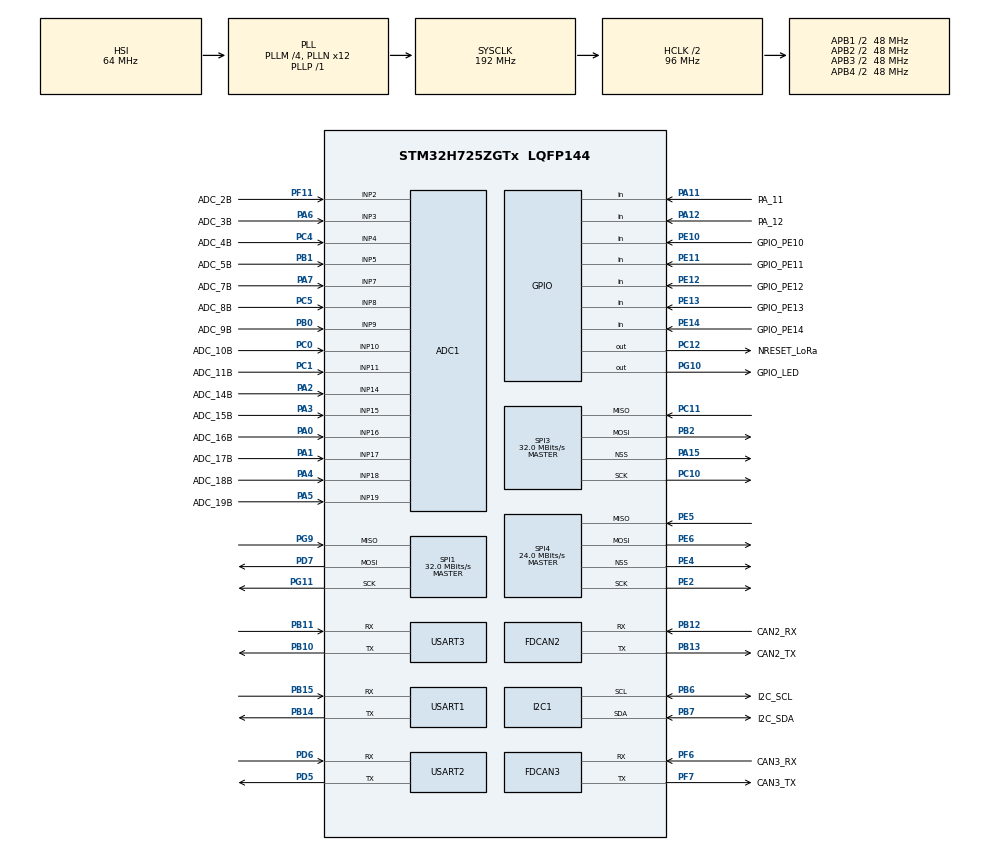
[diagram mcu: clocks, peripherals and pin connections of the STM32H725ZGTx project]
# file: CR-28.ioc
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ADC1.Channel-0\#ChannelRegularConversion=ADC_CHANNEL_2
ADC1.Channel-1\#ChannelRegularConversion=ADC_CHANNEL_3
ADC1.Channel-10\#ChannelRegularConversion=ADC_CHANNEL_15
ADC1.Channel-11\#ChannelRegularConversion=ADC_CHANNEL_16
ADC1.Channel-12\#ChannelRegularConversion=ADC_CHANNEL_17
ADC1.Channel-13\#ChannelRegularConversion=ADC_CHANNEL_18
ADC1.Channel-14\#ChannelRegularConversion=ADC_CHANNEL_19
ADC1.Channel-15\#ChannelRegularConversion=ADC_CHANNEL_19
ADC1.Channel-2\#ChannelRegularConversion=ADC_CHANNEL_4
ADC1.Channel-3\#ChannelRegularConversion=ADC_CHANNEL_5
ADC1.Channel-4\#ChannelRegularConversion=ADC_CHANNEL_7
ADC1.Channel-5\#ChannelRegularConversion=ADC_CHANNEL_8
ADC1.Channel-6\#ChannelRegularConversion=ADC_CHANNEL_9
ADC1.Channel-7\#ChannelRegularConversion=ADC_CHANNEL_10
ADC1.Channel-8\#ChannelRegularConversion=ADC_CHANNEL_11
ADC1.Channel-9\#ChannelRegularConversion=ADC_CHANNEL_14
ADC1.ContinuousConvMode=ENABLE
ADC1.ConversionDataManagement=ADC_CONVERSIONDATA_DMA_CIRCULAR
ADC1.NbrOfConversion=16
ADC1.NbrOfConversionFlag=1
ADC1.OffsetNumber-0\#ChannelRegularConversion=ADC_OFFSET_NONE
ADC1.OffsetNumber-1\#ChannelRegularConversion=ADC_OFFSET_NONE
ADC1.OffsetNumber-10\#ChannelRegularConversion=ADC_OFFSET_NONE
ADC1.OffsetNumber-11\#ChannelRegularConversion=ADC_OFFSET_NONE
ADC1.OffsetNumber-12\#ChannelRegularConversion=ADC_OFFSET_NONE
ADC1.OffsetNumber-13\#ChannelRegularConversion=ADC_OFFSET_NONE
ADC1.OffsetNumber-14\#ChannelRegularConversion=ADC_OFFSET_NONE
ADC1.OffsetNumber-15\#ChannelRegularConversion=ADC_OFFSET_NONE
ADC1.OffsetNumber-2\#ChannelRegularConversion=ADC_OFFSET_NONE
ADC1.OffsetNumber-3\#ChannelRegularConversion=ADC_OFFSET_NONE
ADC1.OffsetNumber-4\#ChannelRegularConversion=ADC_OFFSET_NONE
ADC1.OffsetNumber-5\#ChannelRegularConversion=ADC_OFFSET_NONE
ADC1.OffsetNumber-6\#ChannelRegularConversion=ADC_OFFSET_NONE
ADC1.OffsetNumber-7\#ChannelRegularConversion=ADC_OFFSET_NONE
ADC1.OffsetNumber-8\#ChannelRegularConversion=ADC_OFFSET_NONE
ADC1.OffsetNumber-9\#ChannelRegularConversion=ADC_OFFSET_NONE
ADC1.OffsetSignedSaturation-0\#ChannelRegularConversion=DISABLE
ADC1.OffsetSignedSaturation-1\#ChannelRegularConversion=DISABLE
ADC1.OffsetSignedSaturation-10\#ChannelRegularConversion=DISABLE
ADC1.OffsetSignedSaturation-11\#ChannelRegularConversion=DISABLE
ADC1.OffsetSignedSaturation-12\#ChannelRegularConversion=DISABLE
ADC1.OffsetSignedSaturation-13\#ChannelRegularConversion=DISABLE
ADC1.OffsetSignedSaturation-14\#ChannelRegularConversion=DISABLE
ADC1.OffsetSignedSaturation-15\#ChannelRegularConversion=DISABLE
ADC1.OffsetSignedSaturation-2\#ChannelRegularConversion=DISABLE
ADC1.OffsetSignedSaturation-3\#ChannelRegularConversion=DISABLE
ADC1.OffsetSignedSaturation-4\#ChannelRegularConversion=DISABLE
ADC1.OffsetSignedSaturation-5\#ChannelRegularConversion=DISABLE
ADC1.OffsetSignedSaturation-6\#ChannelRegularConversion=DISABLE
ADC1.OffsetSignedSaturation-7\#ChannelRegularConversion=DISABLE
ADC1.OffsetSignedSaturation-8\#ChannelRegularConversion=DISABLE
ADC1.OffsetSignedSaturation-9\#ChannelRegularConversion=DISABLE
ADC1.Rank-0\#ChannelRegularConversion=1
ADC1.Rank-1\#ChannelRegularConversion=2
ADC1.Rank-10\#ChannelRegularConversion=11
ADC1.Rank-11\#ChannelRegularConversion=12
ADC1.Rank-12\#ChannelRegularConversion=13
ADC1.Rank-13\#ChannelRegularConversion=14
ADC1.Rank-14\#ChannelRegularConversion=15
ADC1.Rank-15\#ChannelRegularConversion=16
ADC1.Rank-2\#ChannelRegularConversion=3
ADC1.Rank-3\#ChannelRegularConversion=4
ADC1.Rank-4\#ChannelRegularConversion=5
ADC1.Rank-5\#ChannelRegularConversion=6
ADC1.Rank-6\#ChannelRegularConversion=7
ADC1.Rank-7\#ChannelRegularConversion=8
ADC1.Rank-8\#ChannelRegularConversion=9
ADC1.Rank-9\#ChannelRegularConversion=10
ADC1.SamplingTime-0\#ChannelRegularConversion=ADC_SAMPLETIME_1CYCLE_5
ADC1.SamplingTime-1\#ChannelRegularConversion=ADC_SAMPLETIME_1CYCLE_5
ADC1.SamplingTime-10\#ChannelRegularConversion=ADC_SAMPLETIME_1CYCLE_5
ADC1.SamplingTime-11\#ChannelRegularConversion=ADC_SAMPLETIME_1CYCLE_5
ADC1.SamplingTime-12\#ChannelRegularConversion=ADC_SAMPLETIME_1CYCLE_5
ADC1.SamplingTime-13\#ChannelRegularConversion=ADC_SAMPLETIME_1CYCLE_5
ADC1.SamplingTime-14\#ChannelRegularConversion=ADC_SAMPLETIME_1CYCLE_5
ADC1.SamplingTime-15\#ChannelRegularConversion=ADC_SAMPLETIME_1CYCLE_5
ADC1.SamplingTime-2\#ChannelRegularConversion=ADC_SAMPLETIME_1CYCLE_5
ADC1.SamplingTime-3\#ChannelRegularConversion=ADC_SAMPLETIME_1CYCLE_5
ADC1.SamplingTime-4\#ChannelRegularConversion=ADC_SAMPLETIME_1CYCLE_5
ADC1.SamplingTime-5\#ChannelRegularConversion=ADC_SAMPLETIME_1CYCLE_5
ADC1.SamplingTime-6\#ChannelRegularConversion=ADC_SAMPLETIME_1CYCLE_5
ADC1.SamplingTime-7\#ChannelRegularConversion=ADC_SAMPLETIME_1CYCLE_5
ADC1.SamplingTime-8\#ChannelRegularConversion=ADC_SAMPLETIME_1CYCLE_5
ADC1.SamplingTime-9\#ChannelRegularConversion=ADC_SAMPLETIME_1CYCLE_5
ADC1.master=1
Dma.ADC1.0.Direction=DMA_PERIPH_TO_MEMORY
Dma.ADC1.0.EventEnable=DISABLE
Dma.ADC1.0.FIFOMode=DMA_FIFOMODE_DISABLE
Dma.ADC1.0.Instance=DMA1_Stream0
Dma.ADC1.0.MemDataAlignment=DMA_MDATAALIGN_HALFWORD
Dma.ADC1.0.MemInc=DMA_MINC_ENABLE
Dma.ADC1.0.Mode=DMA_CIRCULAR
Dma.ADC1.0.PeriphDataAlignment=DMA_PDATAALIGN_HALFWORD
Dma.ADC1.0.PeriphInc=DMA_PINC_DISABLE
Dma.ADC1.0.Polarity=HAL_DMAMUX_REQ_GEN_RISING
Dma.ADC1.0.Priority=DMA_PRIORITY_LOW
Dma.ADC1.0.RequestNumber=1
Dma.ADC1.0.SignalID=NONE
Dma.ADC1.0.SyncEnable=DISABLE
Dma.ADC1.0.SyncPolarity=HAL_DMAMUX_SYNC_NO_EVENT
Dma.ADC1.0.SyncRequestNumber=1
Dma.ADC1.0.SyncSignalID=NONE
Dma.Request0=ADC1
FDCAN2.CalculateBaudRateNominal=800000
FDCAN2.CalculateTimeBitNominal=1250
FDCAN2.CalculateTimeQuantumNominal=250.0
FDCAN2.Mode=FDCAN_MODE_NORMAL
FDCAN3.CalculateBaudRateNominal=800000
FDCAN3.CalculateTimeBitNominal=1250
FDCAN3.CalculateTimeQuantumNominal=250.0
I2C1.Timing=0x20303E5D
Mcu.Family=STM32H7
Mcu.Name=STM32H725ZGTx
Mcu.Package=LQFP144
NVIC.DMA1_Stream0_IRQn=true\:0\:0\:false\:false\:true\:false\:true\:true
NVIC.PriorityGroup=NVIC_PRIORITYGROUP_4
NVIC.USART1_IRQn=true\:0\:0\:false\:false\:true\:true\:true\:true
PA0.GPIO_Label=ADC_16B
PA0.Mode=IN16-Single-Ended
PA0.Signal=ADC1_INP16
PA1.GPIO_Label=ADC_17B
PA1.Mode=IN17-Single-Ended
PA1.Signal=ADC1_INP17
PA11.GPIO_Label=PA_11
PA11.Signal=GPIO_Input
PA12.GPIO_Label=PA_12
PA12.Signal=GPIO_Input
PA15(JTDI).Mode=NSS_Signal_Hard_Output
PA15(JTDI).Signal=SPI3_NSS
PA2.GPIO_Label=ADC_14B
PA2.Signal=ADCx_INP14
PA3.GPIO_Label=ADC_15B
PA3.Signal=ADCx_INP15
PA4.GPIO_Label=ADC_18B
PA4.Signal=ADCx_INP18
PA5.GPIO_Label=ADC_19B
PA5.Signal=ADCx_INP19
PA6.GPIO_Label=ADC_3B
PA6.Signal=ADCx_INP3
PA7.GPIO_Label=ADC_7B
PA7.Signal=ADCx_INP7
PB0.GPIO_Label=ADC_9B
PB0.Signal=ADCx_INP9
PB1.GPIO_Label=ADC_5B
PB1.Signal=ADCx_INP5
PB10.Mode=Asynchronous
PB10.Signal=USART3_TX
PB11.Mode=Asynchronous
PB11.Signal=USART3_RX
PB12.GPIO_Label=CAN2_RX
PB12.Mode=FDCAN_Activate
PB12.Signal=FDCAN2_RX
PB13.GPIO_Label=CAN2_TX
PB13.Mode=FDCAN_Activate
PB13.Signal=FDCAN2_TX
PB14.Mode=Asynchronous
PB14.Signal=USART1_TX
PB15.Mode=Asynchronous
PB15.Signal=USART1_RX
PB2.Mode=Full_Duplex_Master
PB2.Signal=SPI3_MOSI
PB6.GPIO_Label=I2C_SCL
PB6.Mode=I2C
PB6.Signal=I2C1_SCL
PB7.GPIO_Label=I2C_SDA
PB7.Mode=I2C
PB7.Signal=I2C1_SDA
PC0.GPIO_Label=ADC_10B
PC0.Signal=ADCx_INP10
PC1.GPIO_Label=ADC_11B
PC1.Signal=ADCx_INP11
PC10.Mode=Full_Duplex_Master
PC10.Signal=SPI3_SCK
PC11.Mode=Full_Duplex_Master
PC11.Signal=SPI3_MISO
PC12.GPIO_Label=NRESET_LoRa
PC12.Signal=GPIO_Output
PC14-OSC32_IN.GPIO_Label=LSE_In
PC14-OSC32_IN.Mode=LSE-External-Oscillator
PC14-OSC32_IN.Signal=RCC_OSC32_IN
PC15-OSC32_OUT.GPIO_Label=LSE_Out
PC15-OSC32_OUT.Mode=LSE-External-Oscillator
PC15-OSC32_OUT.Signal=RCC_OSC32_OUT
PC4.GPIO_Label=ADC_4B
PC4.Signal=ADCx_INP4
PC5.GPIO_Label=ADC_8B
PC5.Signal=ADCx_INP8
PD5.Mode=Asynchronous
PD5.Signal=USART2_TX
PD6.Mode=Asynchronous
PD6.Signal=USART2_RX
PD7.Mode=Full_Duplex_Master
PD7.Signal=SPI1_MOSI
PE10.GPIO_Label=GPIO_PE10
PE10.Signal=GPIO_Input
PE11.GPIO_Label=GPIO_PE11
PE11.Signal=GPIO_Input
PE12.GPIO_Label=GPIO_PE12
PE12.Signal=GPIO_Input
PE13.GPIO_Label=GPIO_PE13
PE13.Signal=GPIO_Input
PE14.GPIO_Label=GPIO_PE14
PE14.Signal=GPIO_Input
PE2.Mode=Full_Duplex_Master
PE2.Signal=SPI4_SCK
PE4.Mode=NSS_Signal_Hard_Output
PE4.Signal=SPI4_NSS
PE5.Mode=Full_Duplex_Master
PE5.Signal=SPI4_MISO
PE6.Mode=Full_Duplex_Master
PE6.Signal=SPI4_MOSI
PF11.GPIO_Label=ADC_2B
PF11.Mode=IN2-Single-Ended
PF11.Signal=ADC1_INP2
PF6.GPIO_Label=CAN3_RX
PF6.Mode=FDCAN_Activate
PF6.Signal=FDCAN3_RX
PF7.GPIO_Label=CAN3_TX
PF7.Mode=FDCAN_Activate
PF7.Signal=FDCAN3_TX
PG10.GPIO_Label=GPIO_LED
PG10.Signal=GPIO_Output
PG11.Mode=Full_Duplex_Master
PG11.Signal=SPI1_SCK
PG9.Mode=Full_Duplex_Master
PG9.Signal=SPI1_MISO
PH0-OSC_IN.GPIO_Label=HSE_In
PH0-OSC_IN.Mode=HSE-External-Oscillator
PH0-OSC_IN.Signal=RCC_OSC_IN
PH1-OSC_OUT.GPIO_Label=HSE_Out
PH1-OSC_OUT.Mode=HSE-External-Oscillator
PH1-OSC_OUT.Signal=RCC_OSC_OUT
ProjectManager.HeapSize=0x200
ProjectManager.StackSize=0x400
ProjectManager.TargetToolchain=STM32CubeIDE
RCC.ADCFreq_Value=48000000
RCC.APB1Freq_Value=48000000
RCC.APB2Freq_Value=48000000
RCC.APB3Freq_Value=48000000
RCC.APB4Freq_Value=48000000
RCC.CortexFreq_Value=192000000
RCC.D1PPRE=RCC_APB3_DIV2
RCC.D2PPRE1=RCC_APB1_DIV2
RCC.D2PPRE2=RCC_APB2_DIV2
RCC.D3PPRE=RCC_APB4_DIV2
RCC.DIVM1=4
RCC.DIVM2=4
RCC.DIVN1=12
RCC.DIVN2=12
RCC.DIVP1=1
RCC.DIVP2=4
RCC.DIVQ1=3
RCC.HCLKFreq_Value=96000000
RCC.HPRE=RCC_HCLK_DIV2
RCC.PLL2FRACN=0
RCC.PLL3FRACN=0
RCC.PLLFRACN=0
RCC.SYSCLKFreq_VALUE=192000000
RCC.SYSCLKSource=RCC_SYSCLKSOURCE_PLLCLK
RCC.USBFreq_Value=64000000
SH.ADCx_INP10.0=ADC1_INP10,IN10-Single-Ended
SH.ADCx_INP11.0=ADC1_INP11,IN11-Single-Ended
SH.ADCx_INP14.0=ADC1_INP14,IN14-Single-Ended
SH.ADCx_INP15.0=ADC1_INP15,IN15-Single-Ended
SH.ADCx_INP18.0=ADC1_INP18,IN18-Single-Ended
SH.ADCx_INP19.0=ADC1_INP19,IN19-Single-Ended
SH.ADCx_INP3.0=ADC1_INP3,IN3-Single-Ended
SH.ADCx_INP4.0=ADC1_INP4,IN4-Single-Ended
SH.ADCx_INP5.0=ADC1_INP5,IN5-Single-Ended
SH.ADCx_INP7.0=ADC1_INP7,IN7-Single-Ended
SH.ADCx_INP8.0=ADC1_INP8,IN8-Single-Ended
SH.ADCx_INP9.0=ADC1_INP9,IN9-Single-Ended
SPI1.CalculateBaudRate=32.0 MBits/s
SPI1.Direction=SPI_DIRECTION_2LINES
SPI1.Mode=SPI_MODE_MASTER
SPI1.VirtualType=VM_MASTER
SPI3.CalculateBaudRate=32.0 MBits/s
SPI3.Direction=SPI_DIRECTION_2LINES
SPI3.Mode=SPI_MODE_MASTER
SPI3.VirtualNSS=VM_NSSHARD
SPI3.VirtualType=VM_MASTER
SPI4.CalculateBaudRate=24.0 MBits/s
SPI4.Direction=SPI_DIRECTION_2LINES
SPI4.Mode=SPI_MODE_MASTER
SPI4.VirtualNSS=VM_NSSHARD
SPI4.VirtualType=VM_MASTER
USART1.VirtualMode-Asynchronous=VM_ASYNC
USART2.VirtualMode-Asynchronous=VM_ASYNC
USART3.VirtualMode-Asynchronous=VM_ASYNC
board=custom

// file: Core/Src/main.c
/* USER CODE BEGIN Header */
/**
  ******************************************************************************
  * @file           : main.c
  * @brief          : Main program for CR-28 Telemetry System
  ******************************************************************************
  */
/* USER CODE END Header */
#include "main.h"

/* USER CODE BEGIN PD */
#define ADC_BUFFER_SIZE 128 // Use a larger value to decimate ADC data
/* USER CODE END PD */

ADC_HandleTypeDef hadc1;
DMA_HandleTypeDef hdma_adc1;

FDCAN_HandleTypeDef hfdcan2;
FDCAN_HandleTypeDef hfdcan3;

I2C_HandleTypeDef hi2c1;

SPI_HandleTypeDef hspi1;
SPI_HandleTypeDef hspi3;
SPI_HandleTypeDef hspi4;

UART_HandleTypeDef huart1;
UART_HandleTypeDef huart2;
UART_HandleTypeDef huart3;

/* USER CODE BEGIN PV */
uint16_t adcBuffer[ADC_BUFFER_SIZE]; // Buffer to hold the ADC Results
volatile int adcConvFlag = 0; // DMA Conversion flag for Analog Converters

char debug[64]; // String to hold UART Messages for debug

char message[64]; // String to hold UART messages to control the HMI Display
char HMIEnd[4] = "0xff"; // End Command for HMI Serial Control

/* Data Struct to hold Telem Data*/
typedef struct data_struct {
  float RPM;        // RPM
  float TPS;        // TPS
  float FOT;        // Fuel Open Time
  float IA;         // Ignition Angle
  float Lam;        // Lambda
  float AirT;       // Air Temp
  float CoolT;      // Coolant Temp
  float Lat;        // Latitude
  float Lng;        // Longitude
  float Speed;      // GPS Speed
  float OilP;       // Oil Pressure
  float FuelP;      // Fuel Pressure
  float FLTemp;     // Front Left Brake Temp
  float FRTemp;     // Front Right Brake Temp
  float RLTemp;     // Rear Left Brake Temp
  float RRTemp;     // Rear Right Brake Temp
  float FRPot;      // Front Right Suspension Damper
  float FLPot;      // Front Left Suspension Damper
  float RRPot;      // Rear Right Suspension Damper
  float RLPot;      // Rear Left Suspension Damper
  float BrakeFront; // Front Brake Pressure
  float BrakeRear;  // Rear Brake Pressure
  float BrakeBias;  // Brake Bias
  float AccX;       // Accelerometer X Axis
  float AccY;       // Accelerometer Y Axis
  float AccZ;       // Accelerometer Z Axis
  float GyrX;       // Gyroscope X Axis
  float GyrY;       // Gyroscope Y Axis
  float GyrZ;       // Gyroscope Z Axis
  float MagX;       // Magnetometer X Axis
  float MagY;       // Magnetometer Y Axis
  float MagZ;       // Magnetometer Z Axis
} data_struct;
data_struct telemetry;

/* USER CODE END PV */

void SystemClock_Config(void);
static void MX_GPIO_Init(void);
static void MX_DMA_Init(void);
static void MX_ADC1_Init(void);
static void MX_USART1_UART_Init(void);
static void MX_FDCAN2_Init(void);
static void MX_FDCAN3_Init(void);
static void MX_I2C1_Init(void);
static void MX_SPI1_Init(void);
static void MX_USART2_UART_Init(void);
static void MX_USART3_UART_Init(void);
static void MX_SPI3_Init(void);
static void MX_SPI4_Init(void);

int main(void)
{

  /* MCU Configuration--------------------------------------------------------*/

  /* Reset of all peripherals, Initializes the Flash interface and the Systick. */
  HAL_Init();

  /* Configure the system clock */
  SystemClock_Config();

  /* Initialize all configured peripherals */
  MX_GPIO_Init();
  MX_DMA_Init();
  MX_ADC1_Init();
  MX_USART1_UART_Init();
  MX_FDCAN2_Init();
  MX_FDCAN3_Init();
  MX_I2C1_Init();
  MX_SPI1_Init();
  MX_USART2_UART_Init();
  MX_USART3_UART_Init();
  MX_SPI3_Init();
  MX_SPI4_Init();
  /* USER CODE BEGIN 2 */

  /* Start ADC 1 with DMA Transfers while checking for errors */
  if (HAL_ADC_Start_DMA(&hadc1, (uint16_t)adcBuffer, ADC_BUFFER_SIZE) != HAL_OK) {
	  Error_Handler();
  }

  /* USER CODE END 2 */

  /* Infinite loop */
  /* USER CODE BEGIN WHILE */
  while (1)
  {
	  // TODO: Add CAN data read in

	  if (adcConvFlag == 1) {
		  // Update Variables
		  telemetry.FRPot = adcBuffer[0];
		  telemetry.FLPot = adcBuffer[1];
		  telemetry.RRPot = adcBuffer[2];
		  telemetry.RLPot = adcBuffer[3];

		  // TODO: Convert ADC values to sensor values
		  // Need sensor range

		  telemetry.BrakeFront = adcBuffer[4];
		  telemetry.BrakeRear = adcBuffer[5];

		  // TODO: Convert ADC values to sensor values
		  // Need sensor range

		  sprintf(debug, "%d - %d", adcBuffer[4], adcBuffer[5]);
		  HAL_UART_Transmit_IT(&huart3, debug, sizeof(debug));

		  adcConvFlag = 0;
	  }

	  sprintf(message, "rpm.txt=\"%d\"", telemetry.RPM);
	  HAL_UART_Transmit_IT(&huart1, message, sizeof(message));
	  HMICMD();
    /* USER CODE END WHILE */

  }
}

void SystemClock_Config(void)
{
  RCC_OscInitTypeDef RCC_OscInitStruct = {0};
  RCC_ClkInitTypeDef RCC_ClkInitStruct = {0};

  /** Supply configuration update enable
  */
  HAL_PWREx_ConfigSupply(PWR_DIRECT_SMPS_SUPPLY);

  /** Configure the main internal regulator output voltage
  */
  __HAL_PWR_VOLTAGESCALING_CONFIG(PWR_REGULATOR_VOLTAGE_SCALE2);

  while(!__HAL_PWR_GET_FLAG(PWR_FLAG_VOSRDY)) {}

  /** Initializes the RCC Oscillators according to the specified parameters
  * in the RCC_OscInitTypeDef structure.
  */
  RCC_OscInitStruct.OscillatorType = RCC_OSCILLATORTYPE_HSI;
  RCC_OscInitStruct.HSIState = RCC_HSI_DIV1;
  RCC_OscInitStruct.HSICalibrationValue = 64;
  RCC_OscInitStruct.PLL.PLLState = RCC_PLL_ON;
  RCC_OscInitStruct.PLL.PLLSource = RCC_PLLSOURCE_HSI;
  RCC_OscInitStruct.PLL.PLLM = 4;
  RCC_OscInitStruct.PLL.PLLN = 12;
  RCC_OscInitStruct.PLL.PLLP = 1;
  RCC_OscInitStruct.PLL.PLLQ = 3;
  RCC_OscInitStruct.PLL.PLLR = 2;
  RCC_OscInitStruct.PLL.PLLRGE = RCC_PLL1VCIRANGE_3;
  RCC_OscInitStruct.PLL.PLLVCOSEL = RCC_PLL1VCOWIDE;
  RCC_OscInitStruct.PLL.PLLFRACN = 0;
  if (HAL_RCC_OscConfig(&RCC_OscInitStruct) != HAL_OK)
  {
    Error_Handler();
  }

  /** Initializes the CPU, AHB and APB buses clocks
  */
  RCC_ClkInitStruct.ClockType = RCC_CLOCKTYPE_HCLK|RCC_CLOCKTYPE_SYSCLK
                              |RCC_CLOCKTYPE_PCLK1|RCC_CLOCKTYPE_PCLK2
                              |RCC_CLOCKTYPE_D3PCLK1|RCC_CLOCKTYPE_D1PCLK1;
  RCC_ClkInitStruct.SYSCLKSource = RCC_SYSCLKSOURCE_PLLCLK;
  RCC_ClkInitStruct.SYSCLKDivider = RCC_SYSCLK_DIV1;
  RCC_ClkInitStruct.AHBCLKDivider = RCC_HCLK_DIV2;
  RCC_ClkInitStruct.APB3CLKDivider = RCC_APB3_DIV2;
  RCC_ClkInitStruct.APB1CLKDivider = RCC_APB1_DIV2;
  RCC_ClkInitStruct.APB2CLKDivider = RCC_APB2_DIV2;
  RCC_ClkInitStruct.APB4CLKDivider = RCC_APB4_DIV2;

  if (HAL_RCC_ClockConfig(&RCC_ClkInitStruct, FLASH_LATENCY_1) != HAL_OK)
  {
    Error_Handler();
  }
}

static void MX_ADC1_Init(void)
{

  ADC_MultiModeTypeDef multimode = {0};
  ADC_ChannelConfTypeDef sConfig = {0};

  /** Common config
  */
  hadc1.Instance = ADC1;
  hadc1.Init.ClockPrescaler = ADC_CLOCK_ASYNC_DIV1;
  hadc1.Init.Resolution = ADC_RESOLUTION_16B;
  hadc1.Init.ScanConvMode = ADC_SCAN_ENABLE;
  hadc1.Init.EOCSelection = ADC_EOC_SINGLE_CONV;
  hadc1.Init.LowPowerAutoWait = DISABLE;
  hadc1.Init.ContinuousConvMode = ENABLE;
  hadc1.Init.NbrOfConversion = 16;
  hadc1.Init.DiscontinuousConvMode = DISABLE;
  hadc1.Init.ExternalTrigConv = ADC_SOFTWARE_START;
  hadc1.Init.ExternalTrigConvEdge = ADC_EXTERNALTRIGCONVEDGE_NONE;
  hadc1.Init.ConversionDataManagement = ADC_CONVERSIONDATA_DMA_CIRCULAR;
  hadc1.Init.Overrun = ADC_OVR_DATA_PRESERVED;
  hadc1.Init.LeftBitShift = ADC_LEFTBITSHIFT_NONE;
  hadc1.Init.OversamplingMode = DISABLE;
  if (HAL_ADC_Init(&hadc1) != HAL_OK)
  {
    Error_Handler();
  }

  /** Configure the ADC multi-mode
  */
  multimode.Mode = ADC_MODE_INDEPENDENT;
  if (HAL_ADCEx_MultiModeConfigChannel(&hadc1, &multimode) != HAL_OK)
  {
    Error_Handler();
  }

  /** Configure Regular Channel
  */
  sConfig.Channel = ADC_CHANNEL_2;
  sConfig.Rank = ADC_REGULAR_RANK_1;
  sConfig.SamplingTime = ADC_SAMPLETIME_1CYCLE_5;
  sConfig.SingleDiff = ADC_SINGLE_ENDED;
  sConfig.OffsetNumber = ADC_OFFSET_NONE;
  sConfig.Offset = 0;
  sConfig.OffsetSignedSaturation = DISABLE;
  if (HAL_ADC_ConfigChannel(&hadc1, &sConfig) != HAL_OK)
  {
    Error_Handler();
  }

  /** Configure Regular Channel
  */
  sConfig.Channel = ADC_CHANNEL_3;
  sConfig.Rank = ADC_REGULAR_RANK_2;
  if (HAL_ADC_ConfigChannel(&hadc1, &sConfig) != HAL_OK)
  {
    Error_Handler();
  }

  /** Configure Regular Channel
  */
  sConfig.Channel = ADC_CHANNEL_4;
  sConfig.Rank = ADC_REGULAR_RANK_3;
  if (HAL_ADC_ConfigChannel(&hadc1, &sConfig) != HAL_OK)
  {
    Error_Handler();
  }

  /** Configure Regular Channel
  */
  sConfig.Channel = ADC_CHANNEL_5;
  sConfig.Rank = ADC_REGULAR_RANK_4;
  if (HAL_ADC_ConfigChannel(&hadc1, &sConfig) != HAL_OK)
  {
    Error_Handler();
  }

  /** Configure Regular Channel
  */
  sConfig.Channel = ADC_CHANNEL_7;
  sConfig.Rank = ADC_REGULAR_RANK_5;
  if (HAL_ADC_ConfigChannel(&hadc1, &sConfig) != HAL_OK)
  {
    Error_Handler();
  }

  /** Configure Regular Channel
  */
  sConfig.Channel = ADC_CHANNEL_8;
  sConfig.Rank = ADC_REGULAR_RANK_6;
  if (HAL_ADC_ConfigChannel(&hadc1, &sConfig) != HAL_OK)
  {
    Error_Handler();
  }

  /** Configure Regular Channel
  */
  sConfig.Channel = ADC_CHANNEL_9;
  sConfig.Rank = ADC_REGULAR_RANK_7;
  if (HAL_ADC_ConfigChannel(&hadc1, &sConfig) != HAL_OK)
  {
    Error_Handler();
  }

  /** Configure Regular Channel
  */
  sConfig.Channel = ADC_CHANNEL_10;
  sConfig.Rank = ADC_REGULAR_RANK_8;
  if (HAL_ADC_ConfigChannel(&hadc1, &sConfig) != HAL_OK)
  {
    Error_Handler();
  }

  /** Configure Regular Channel
  */
  sConfig.Channel = ADC_CHANNEL_11;
  sConfig.Rank = ADC_REGULAR_RANK_9;
  if (HAL_ADC_ConfigChannel(&hadc1, &sConfig) != HAL_OK)
  {
    Error_Handler();
  }

  /** Configure Regular Channel
  */
  sConfig.Channel = ADC_CHANNEL_14;
  sConfig.Rank = ADC_REGULAR_RANK_10;
  if (HAL_ADC_ConfigChannel(&hadc1, &sConfig) != HAL_OK)
  {
    Error_Handler();
  }

  /** Configure Regular Channel
  */
  sConfig.Channel = ADC_CHANNEL_15;
  sConfig.Rank = ADC_REGULAR_RANK_11;
  if (HAL_ADC_ConfigChannel(&hadc1, &sConfig) != HAL_OK)
  {
    Error_Handler();
  }

  /** Configure Regular Channel
  */
  sConfig.Channel = ADC_CHANNEL_16;
  sConfig.Rank = ADC_REGULAR_RANK_12;
  if (HAL_ADC_ConfigChannel(&hadc1, &sConfig) != HAL_OK)
  {
    Error_Handler();
  }

  /** Configure Regular Channel
  */
  sConfig.Channel = ADC_CHANNEL_17;
  sConfig.Rank = ADC_REGULAR_RANK_13;
  if (HAL_ADC_ConfigChannel(&hadc1, &sConfig) != HAL_OK)
  {
    Error_Handler();
  }

  /** Configure Regular Channel
  */
  sConfig.Channel = ADC_CHANNEL_18;
  sConfig.Rank = ADC_REGULAR_RANK_14;
  if (HAL_ADC_ConfigChannel(&hadc1, &sConfig) != HAL_OK)
  {
    Error_Handler();
  }

  /** Configure Regular Channel
  */
  sConfig.Channel = ADC_CHANNEL_19;
  sConfig.Rank = ADC_REGULAR_RANK_15;
  if (HAL_ADC_ConfigChannel(&hadc1, &sConfig) != HAL_OK)
  {
    Error_Handler();
  }

  /** Configure Regular Channel
  */
  sConfig.Rank = ADC_REGULAR_RANK_16;
  if (HAL_ADC_ConfigChannel(&hadc1, &sConfig) != HAL_OK)
  {
    Error_Handler();
  }

}

static void MX_FDCAN2_Init(void)
{

  hfdcan2.Instance = FDCAN2;
  hfdcan2.Init.FrameFormat = FDCAN_FRAME_CLASSIC;
  hfdcan2.Init.Mode = FDCAN_MODE_NORMAL;
  hfdcan2.Init.AutoRetransmission = DISABLE;
  hfdcan2.Init.TransmitPause = DISABLE;
  hfdcan2.Init.ProtocolException = DISABLE;
  hfdcan2.Init.NominalPrescaler = 16;
  hfdcan2.Init.NominalSyncJumpWidth = 1;
  hfdcan2.Init.NominalTimeSeg1 = 2;
  hfdcan2.Init.NominalTimeSeg2 = 2;
  hfdcan2.Init.DataPrescaler = 1;
  hfdcan2.Init.DataSyncJumpWidth = 1;
  hfdcan2.Init.DataTimeSeg1 = 1;
  hfdcan2.Init.DataTimeSeg2 = 1;
  hfdcan2.Init.MessageRAMOffset = 0;
  hfdcan2.Init.StdFiltersNbr = 0;
  hfdcan2.Init.ExtFiltersNbr = 0;
  hfdcan2.Init.RxFifo0ElmtsNbr = 0;
  hfdcan2.Init.RxFifo0ElmtSize = FDCAN_DATA_BYTES_8;
  hfdcan2.Init.RxFifo1ElmtsNbr = 0;
  hfdcan2.Init.RxFifo1ElmtSize = FDCAN_DATA_BYTES_8;
  hfdcan2.Init.RxBuffersNbr = 0;
  hfdcan2.Init.RxBufferSize = FDCAN_DATA_BYTES_8;
  hfdcan2.Init.TxEventsNbr = 0;
  hfdcan2.Init.TxBuffersNbr = 0;
  hfdcan2.Init.TxFifoQueueElmtsNbr = 0;
  hfdcan2.Init.TxFifoQueueMode = FDCAN_TX_FIFO_OPERATION;
  hfdcan2.Init.TxElmtSize = FDCAN_DATA_BYTES_8;
  if (HAL_FDCAN_Init(&hfdcan2) != HAL_OK)
  {
    Error_Handler();
  }

}

static void MX_FDCAN3_Init(void)
{

  hfdcan3.Instance = FDCAN3;
  hfdcan3.Init.FrameFormat = FDCAN_FRAME_CLASSIC;
  hfdcan3.Init.Mode = FDCAN_MODE_NORMAL;
  hfdcan3.Init.AutoRetransmission = DISABLE;
  hfdcan3.Init.TransmitPause = DISABLE;
  hfdcan3.Init.ProtocolException = DISABLE;
  hfdcan3.Init.NominalPrescaler = 16;
  hfdcan3.Init.NominalSyncJumpWidth = 1;
  hfdcan3.Init.NominalTimeSeg1 = 2;
  hfdcan3.Init.NominalTimeSeg2 = 2;
  hfdcan3.Init.DataPrescaler = 1;
  hfdcan3.Init.DataSyncJumpWidth = 1;
  hfdcan3.Init.DataTimeSeg1 = 1;
  hfdcan3.Init.DataTimeSeg2 = 1;
  hfdcan3.Init.MessageRAMOffset = 0;
  hfdcan3.Init.StdFiltersNbr = 0;
  hfdcan3.Init.ExtFiltersNbr = 0;
  hfdcan3.Init.RxFifo0ElmtsNbr = 0;
  hfdcan3.Init.RxFifo0ElmtSize = FDCAN_DATA_BYTES_8;
  hfdcan3.Init.RxFifo1ElmtsNbr = 0;
  hfdcan3.Init.RxFifo1ElmtSize = FDCAN_DATA_BYTES_8;
  hfdcan3.Init.RxBuffersNbr = 0;
  hfdcan3.Init.RxBufferSize = FDCAN_DATA_BYTES_8;
  hfdcan3.Init.TxEventsNbr = 0;
  hfdcan3.Init.TxBuffersNbr = 0;
  hfdcan3.Init.TxFifoQueueElmtsNbr = 0;
  hfdcan3.Init.TxFifoQueueMode = FDCAN_TX_FIFO_OPERATION;
  hfdcan3.Init.TxElmtSize = FDCAN_DATA_BYTES_8;
  if (HAL_FDCAN_Init(&hfdcan3) != HAL_OK)
  {
    Error_Handler();
  }

}

static void MX_I2C1_Init(void)
{

  hi2c1.Instance = I2C1;
  hi2c1.Init.Timing = 0x20303E5D;
  hi2c1.Init.OwnAddress1 = 0;
  hi2c1.Init.AddressingMode = I2C_ADDRESSINGMODE_7BIT;
  hi2c1.Init.DualAddressMode = I2C_DUALADDRESS_DISABLE;
  hi2c1.Init.OwnAddress2 = 0;
  hi2c1.Init.OwnAddress2Masks = I2C_OA2_NOMASK;
  hi2c1.Init.GeneralCallMode = I2C_GENERALCALL_DISABLE;
  hi2c1.Init.NoStretchMode = I2C_NOSTRETCH_DISABLE;
  if (HAL_I2C_Init(&hi2c1) != HAL_OK)
  {
    Error_Handler();
  }

  /** Configure Analog filter
  */
  if (HAL_I2CEx_ConfigAnalogFilter(&hi2c1, I2C_ANALOGFILTER_ENABLE) != HAL_OK)
  {
    Error_Handler();
  }

  /** Configure Digital filter
  */
  if (HAL_I2CEx_ConfigDigitalFilter(&hi2c1, 0) != HAL_OK)
  {
    Error_Handler();
  }

}

static void MX_SPI1_Init(void)
{

  /* SPI1 parameter configuration*/
  hspi1.Instance = SPI1;
  hspi1.Init.Mode = SPI_MODE_MASTER;
  hspi1.Init.Direction = SPI_DIRECTION_2LINES;
  hspi1.Init.DataSize = SPI_DATASIZE_4BIT;
  hspi1.Init.CLKPolarity = SPI_POLARITY_LOW;
  hspi1.Init.CLKPhase = SPI_PHASE_1EDGE;
  hspi1.Init.NSS = SPI_NSS_SOFT;
  hspi1.Init.BaudRatePrescaler = SPI_BAUDRATEPRESCALER_2;
  hspi1.Init.FirstBit = SPI_FIRSTBIT_MSB;
  hspi1.Init.TIMode = SPI_TIMODE_DISABLE;
  hspi1.Init.CRCCalculation = SPI_CRCCALCULATION_DISABLE;
  hspi1.Init.CRCPolynomial = 0x0;
  hspi1.Init.NSSPMode = SPI_NSS_PULSE_ENABLE;
  hspi1.Init.NSSPolarity = SPI_NSS_POLARITY_LOW;
  hspi1.Init.FifoThreshold = SPI_FIFO_THRESHOLD_01DATA;
  hspi1.Init.TxCRCInitializationPattern = SPI_CRC_INITIALIZATION_ALL_ZERO_PATTERN;
  hspi1.Init.RxCRCInitializationPattern = SPI_CRC_INITIALIZATION_ALL_ZERO_PATTERN;
  hspi1.Init.MasterSSIdleness = SPI_MASTER_SS_IDLENESS_00CYCLE;
  hspi1.Init.MasterInterDataIdleness = SPI_MASTER_INTERDATA_IDLENESS_00CYCLE;
  hspi1.Init.MasterReceiverAutoSusp = SPI_MASTER_RX_AUTOSUSP_DISABLE;
  hspi1.Init.MasterKeepIOState = SPI_MASTER_KEEP_IO_STATE_DISABLE;
  hspi1.Init.IOSwap = SPI_IO_SWAP_DISABLE;
  if (HAL_SPI_Init(&hspi1) != HAL_OK)
  {
    Error_Handler();
  }

}

static void MX_SPI3_Init(void)
{

  /* SPI3 parameter configuration*/
  hspi3.Instance = SPI3;
  hspi3.Init.Mode = SPI_MODE_MASTER;
  hspi3.Init.Direction = SPI_DIRECTION_2LINES;
  hspi3.Init.DataSize = SPI_DATASIZE_4BIT;
  hspi3.Init.CLKPolarity = SPI_POLARITY_LOW;
  hspi3.Init.CLKPhase = SPI_PHASE_1EDGE;
  hspi3.Init.NSS = SPI_NSS_HARD_OUTPUT;
  hspi3.Init.BaudRatePrescaler = SPI_BAUDRATEPRESCALER_2;
  hspi3.Init.FirstBit = SPI_FIRSTBIT_MSB;
  hspi3.Init.TIMode = SPI_TIMODE_DISABLE;
  hspi3.Init.CRCCalculation = SPI_CRCCALCULATION_DISABLE;
  hspi3.Init.CRCPolynomial = 0x0;
  hspi3.Init.NSSPMode = SPI_NSS_PULSE_ENABLE;
  hspi3.Init.NSSPolarity = SPI_NSS_POLARITY_LOW;
  hspi3.Init.FifoThreshold = SPI_FIFO_THRESHOLD_01DATA;
  hspi3.Init.TxCRCInitializationPattern = SPI_CRC_INITIALIZATION_ALL_ZERO_PATTERN;
  hspi3.Init.RxCRCInitializationPattern = SPI_CRC_INITIALIZATION_ALL_ZERO_PATTERN;
  hspi3.Init.MasterSSIdleness = SPI_MASTER_SS_IDLENESS_00CYCLE;
  hspi3.Init.MasterInterDataIdleness = SPI_MASTER_INTERDATA_IDLENESS_00CYCLE;
  hspi3.Init.MasterReceiverAutoSusp = SPI_MASTER_RX_AUTOSUSP_DISABLE;
  hspi3.Init.MasterKeepIOState = SPI_MASTER_KEEP_IO_STATE_DISABLE;
  hspi3.Init.IOSwap = SPI_IO_SWAP_DISABLE;
  if (HAL_SPI_Init(&hspi3) != HAL_OK)
  {
    Error_Handler();
  }

}

static void MX_SPI4_Init(void)
{

  /* SPI4 parameter configuration*/
  hspi4.Instance = SPI4;
  hspi4.Init.Mode = SPI_MODE_MASTER;
  hspi4.Init.Direction = SPI_DIRECTION_2LINES;
  hspi4.Init.DataSize = SPI_DATASIZE_4BIT;
  hspi4.Init.CLKPolarity = SPI_POLARITY_LOW;
  hspi4.Init.CLKPhase = SPI_PHASE_1EDGE;
  hspi4.Init.NSS = SPI_NSS_HARD_OUTPUT;
  hspi4.Init.BaudRatePrescaler = SPI_BAUDRATEPRESCALER_2;
  hspi4.Init.FirstBit = SPI_FIRSTBIT_MSB;
  hspi4.Init.TIMode = SPI_TIMODE_DISABLE;
  hspi4.Init.CRCCalculation = SPI_CRCCALCULATION_DISABLE;
  hspi4.Init.CRCPolynomial = 0x0;
  hspi4.Init.NSSPMode = SPI_NSS_PULSE_ENABLE;
  hspi4.Init.NSSPolarity = SPI_NSS_POLARITY_LOW;
  hspi4.Init.FifoThreshold = SPI_FIFO_THRESHOLD_01DATA;
  hspi4.Init.TxCRCInitializationPattern = SPI_CRC_INITIALIZATION_ALL_ZERO_PATTERN;
  hspi4.Init.RxCRCInitializationPattern = SPI_CRC_INITIALIZATION_ALL_ZERO_PATTERN;
  hspi4.Init.MasterSSIdleness = SPI_MASTER_SS_IDLENESS_00CYCLE;
  hspi4.Init.MasterInterDataIdleness = SPI_MASTER_INTERDATA_IDLENESS_00CYCLE;
  hspi4.Init.MasterReceiverAutoSusp = SPI_MASTER_RX_AUTOSUSP_DISABLE;
  hspi4.Init.MasterKeepIOState = SPI_MASTER_KEEP_IO_STATE_DISABLE;
  hspi4.Init.IOSwap = SPI_IO_SWAP_DISABLE;
  if (HAL_SPI_Init(&hspi4) != HAL_OK)
  {
    Error_Handler();
  }

}

static void MX_USART1_UART_Init(void)
{

  huart1.Instance = USART1;
  huart1.Init.BaudRate = 115200;
  huart1.Init.WordLength = UART_WORDLENGTH_8B;
  huart1.Init.StopBits = UART_STOPBITS_1;
  huart1.Init.Parity = UART_PARITY_NONE;
  huart1.Init.Mode = UART_MODE_TX_RX;
  huart1.Init.HwFlowCtl = UART_HWCONTROL_NONE;
  huart1.Init.OverSampling = UART_OVERSAMPLING_16;
  huart1.Init.OneBitSampling = UART_ONE_BIT_SAMPLE_DISABLE;
  huart1.Init.ClockPrescaler = UART_PRESCALER_DIV1;
  huart1.AdvancedInit.AdvFeatureInit = UART_ADVFEATURE_NO_INIT;
  if (HAL_UART_Init(&huart1) != HAL_OK)
  {
    Error_Handler();
  }
  if (HAL_UARTEx_SetTxFifoThreshold(&huart1, UART_TXFIFO_THRESHOLD_1_8) != HAL_OK)
  {
    Error_Handler();
  }
  if (HAL_UARTEx_SetRxFifoThreshold(&huart1, UART_RXFIFO_THRESHOLD_1_8) != HAL_OK)
  {
    Error_Handler();
  }
  if (HAL_UARTEx_DisableFifoMode(&huart1) != HAL_OK)
  {
    Error_Handler();
  }

}

static void MX_USART2_UART_Init(void)
{

  huart2.Instance = USART2;
  huart2.Init.BaudRate = 115200;
  huart2.Init.WordLength = UART_WORDLENGTH_8B;
  huart2.Init.StopBits = UART_STOPBITS_1;
  huart2.Init.Parity = UART_PARITY_NONE;
  huart2.Init.Mode = UART_MODE_TX_RX;
  huart2.Init.HwFlowCtl = UART_HWCONTROL_NONE;
  huart2.Init.OverSampling = UART_OVERSAMPLING_16;
  huart2.Init.OneBitSampling = UART_ONE_BIT_SAMPLE_DISABLE;
  huart2.Init.ClockPrescaler = UART_PRESCALER_DIV1;
  huart2.AdvancedInit.AdvFeatureInit = UART_ADVFEATURE_NO_INIT;
  if (HAL_UART_Init(&huart2) != HAL_OK)
  {
    Error_Handler();
  }
  if (HAL_UARTEx_SetTxFifoThreshold(&huart2, UART_TXFIFO_THRESHOLD_1_8) != HAL_OK)
  {
    Error_Handler();
  }
  if (HAL_UARTEx_SetRxFifoThreshold(&huart2, UART_RXFIFO_THRESHOLD_1_8) != HAL_OK)
  {
    Error_Handler();
  }
  if (HAL_UARTEx_DisableFifoMode(&huart2) != HAL_OK)
  {
    Error_Handler();
  }

}

static void MX_USART3_UART_Init(void)
{

  huart3.Instance = USART3;
  huart3.Init.BaudRate = 115200;
  huart3.Init.WordLength = UART_WORDLENGTH_8B;
  huart3.Init.StopBits = UART_STOPBITS_1;
  huart3.Init.Parity = UART_PARITY_NONE;
  huart3.Init.Mode = UART_MODE_TX_RX;
  huart3.Init.HwFlowCtl = UART_HWCONTROL_NONE;
  huart3.Init.OverSampling = UART_OVERSAMPLING_16;
  huart3.Init.OneBitSampling = UART_ONE_BIT_SAMPLE_DISABLE;
  huart3.Init.ClockPrescaler = UART_PRESCALER_DIV1;
  huart3.AdvancedInit.AdvFeatureInit = UART_ADVFEATURE_NO_INIT;
  if (HAL_UART_Init(&huart3) != HAL_OK)
  {
    Error_Handler();
  }
  if (HAL_UARTEx_SetTxFifoThreshold(&huart3, UART_TXFIFO_THRESHOLD_1_8) != HAL_OK)
  {
    Error_Handler();
  }
  if (HAL_UARTEx_SetRxFifoThreshold(&huart3, UART_RXFIFO_THRESHOLD_1_8) != HAL_OK)
  {
    Error_Handler();
  }
  if (HAL_UARTEx_DisableFifoMode(&huart3) != HAL_OK)
  {
    Error_Handler();
  }

}

static void MX_DMA_Init(void)
{

  /* DMA controller clock enable */
  __HAL_RCC_DMA1_CLK_ENABLE();

  /* DMA interrupt init */
  /* DMA1_Stream0_IRQn interrupt configuration */
  HAL_NVIC_SetPriority(DMA1_Stream0_IRQn, 0, 0);
  HAL_NVIC_EnableIRQ(DMA1_Stream0_IRQn);

}

static void MX_GPIO_Init(void)
{
  GPIO_InitTypeDef GPIO_InitStruct = {0};

  /* GPIO Ports Clock Enable */
  __HAL_RCC_GPIOE_CLK_ENABLE();
  __HAL_RCC_GPIOC_CLK_ENABLE();
  __HAL_RCC_GPIOF_CLK_ENABLE();
  __HAL_RCC_GPIOH_CLK_ENABLE();
  __HAL_RCC_GPIOA_CLK_ENABLE();
  __HAL_RCC_GPIOB_CLK_ENABLE();
  __HAL_RCC_GPIOD_CLK_ENABLE();
  __HAL_RCC_GPIOG_CLK_ENABLE();

  /*Configure GPIO pin Output Level */
  HAL_GPIO_WritePin(NRESET_LoRa_GPIO_Port, NRESET_LoRa_Pin, GPIO_PIN_RESET);

  /*Configure GPIO pin Output Level */
  HAL_GPIO_WritePin(GPIO_LED_GPIO_Port, GPIO_LED_Pin, GPIO_PIN_RESET);

  /*Configure GPIO pins : GPIO_PE10_Pin GPIO_PE11_Pin GPIO_PE12_Pin GPIO_PE13_Pin
                           GPIO_PE14_Pin */
  GPIO_InitStruct.Pin = GPIO_PE10_Pin|GPIO_PE11_Pin|GPIO_PE12_Pin|GPIO_PE13_Pin
                          |GPIO_PE14_Pin;
  GPIO_InitStruct.Mode = GPIO_MODE_INPUT;
  GPIO_InitStruct.Pull = GPIO_NOPULL;
  HAL_GPIO_Init(GPIOE, &GPIO_InitStruct);

  /*Configure GPIO pins : PA_11_Pin PA_12_Pin */
  GPIO_InitStruct.Pin = PA_11_Pin|PA_12_Pin;
  GPIO_InitStruct.Mode = GPIO_MODE_INPUT;
  GPIO_InitStruct.Pull = GPIO_NOPULL;
  HAL_GPIO_Init(GPIOA, &GPIO_InitStruct);

  /*Configure GPIO pin : NRESET_LoRa_Pin */
  GPIO_InitStruct.Pin = NRESET_LoRa_Pin;
  GPIO_InitStruct.Mode = GPIO_MODE_OUTPUT_PP;
  GPIO_InitStruct.Pull = GPIO_NOPULL;
  GPIO_InitStruct.Speed = GPIO_SPEED_FREQ_LOW;
  HAL_GPIO_Init(NRESET_LoRa_GPIO_Port, &GPIO_InitStruct);

  /*Configure GPIO pin : GPIO_LED_Pin */
  GPIO_InitStruct.Pin = GPIO_LED_Pin;
  GPIO_InitStruct.Mode = GPIO_MODE_OUTPUT_PP;
  GPIO_InitStruct.Pull = GPIO_NOPULL;
  GPIO_InitStruct.Speed = GPIO_SPEED_FREQ_LOW;
  HAL_GPIO_Init(GPIO_LED_GPIO_Port, &GPIO_InitStruct);

}

/* USER CODE BEGIN 4 */
// Set flag for ADC DMA Complete
void HAL_ADC_ConvCpltCallback(ADC_HandleTypeDef* hadc){
	adcConvFlag = 1;
}

// Send the end command for the Nextion HMI
void HMICMD() {
	for (int i = 0; i < 3; i++) {
		HAL_UART_Transmit_IT(&huart1, HMIEnd, sizeof(HMIEnd));
	}
}
/* USER CODE END 4 */

void Error_Handler(void)
{
  __disable_irq();
  while (1)
  {
  }
}
